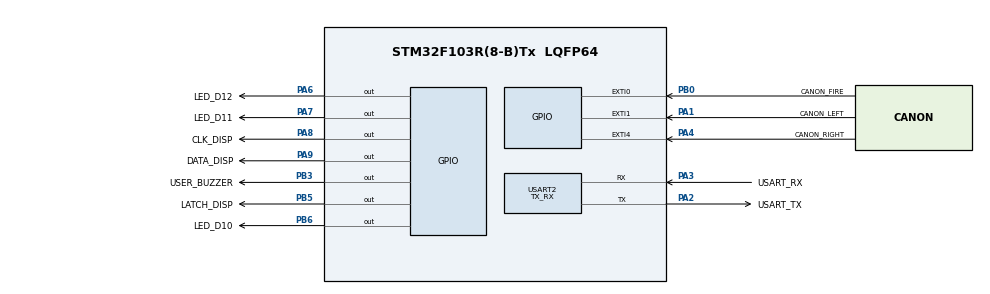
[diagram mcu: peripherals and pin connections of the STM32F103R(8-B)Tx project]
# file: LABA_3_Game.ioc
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Dma.Request0=USART2_RX
Dma.Request1=USART2_TX
Dma.USART2_RX.0.Direction=DMA_PERIPH_TO_MEMORY
Dma.USART2_RX.0.Instance=DMA1_Channel6
Dma.USART2_RX.0.MemDataAlignment=DMA_MDATAALIGN_BYTE
Dma.USART2_RX.0.MemInc=DMA_MINC_ENABLE
Dma.USART2_RX.0.Mode=DMA_NORMAL
Dma.USART2_RX.0.PeriphDataAlignment=DMA_PDATAALIGN_BYTE
Dma.USART2_RX.0.PeriphInc=DMA_PINC_DISABLE
Dma.USART2_RX.0.Priority=DMA_PRIORITY_LOW
Dma.USART2_TX.1.Direction=DMA_MEMORY_TO_PERIPH
Dma.USART2_TX.1.Instance=DMA1_Channel7
Dma.USART2_TX.1.MemDataAlignment=DMA_MDATAALIGN_BYTE
Dma.USART2_TX.1.MemInc=DMA_MINC_ENABLE
Dma.USART2_TX.1.Mode=DMA_NORMAL
Dma.USART2_TX.1.PeriphDataAlignment=DMA_PDATAALIGN_BYTE
Dma.USART2_TX.1.PeriphInc=DMA_PINC_DISABLE
Dma.USART2_TX.1.Priority=DMA_PRIORITY_LOW
Mcu.Family=STM32F1
Mcu.Name=STM32F103R(8-B)Tx
Mcu.Package=LQFP64
NVIC.DMA1_Channel6_IRQn=true\:0\:0\:false\:false\:true\:false\:true\:true
NVIC.DMA1_Channel7_IRQn=true\:0\:0\:false\:false\:true\:false\:true\:true
NVIC.EXTI0_IRQn=true\:0\:0\:false\:false\:true\:true\:true\:true
NVIC.EXTI1_IRQn=true\:0\:0\:false\:false\:true\:true\:true\:true
NVIC.EXTI4_IRQn=true\:0\:0\:false\:false\:true\:true\:true\:true
NVIC.PriorityGroup=NVIC_PRIORITYGROUP_4
NVIC.USART2_IRQn=true\:0\:0\:false\:false\:true\:true\:true\:true
PA1.GPIO_Label=CANON_LEFT
PA1.GPIO_ModeDefaultEXTI=GPIO_MODE_IT_RISING_FALLING
PA1.GPIO_PuPd=GPIO_PULLDOWN
PA1.Signal=GPXTI1
PA2.GPIO_Label=USART_TX
PA2.GPIO_Mode=GPIO_MODE_AF_PP
PA2.GPIO_PuPd=GPIO_NOPULL
PA2.GPIO_Speed=GPIO_SPEED_FREQ_LOW
PA2.Mode=Asynchronous
PA2.Signal=USART2_TX
PA3.GPIO_Label=USART_RX
PA3.GPIO_Mode=GPIO_MODE_AF_PP
PA3.GPIO_PuPd=GPIO_NOPULL
PA3.GPIO_Speed=GPIO_SPEED_FREQ_LOW
PA3.Mode=Asynchronous
PA3.Signal=USART2_RX
PA4.GPIO_Label=CANON_RIGHT
PA4.GPIO_ModeDefaultEXTI=GPIO_MODE_IT_RISING_FALLING
PA4.GPIO_PuPd=GPIO_PULLDOWN
PA4.Signal=GPXTI4
PA6.GPIO_Label=LED_D12
PA6.Signal=GPIO_Output
PA7.GPIO_Label=LED_D11
PA7.Signal=GPIO_Output
PA8.GPIO_Label=CLK_DISP
PA8.GPIO_PuPd=GPIO_PULLDOWN
PA8.Signal=GPIO_Output
PA9.GPIO_Label=DATA_DISP
PA9.GPIO_PuPd=GPIO_PULLDOWN
PA9.Signal=GPIO_Output
PB0.GPIO_Label=CANON_FIRE
PB0.GPIO_ModeDefaultEXTI=GPIO_MODE_IT_RISING_FALLING
PB0.GPIO_PuPd=GPIO_PULLDOWN
PB0.Signal=GPXTI0
PB3.GPIO_Label=USER_BUZZER
PB3.GPIO_ModeDefaultOutputPP=GPIO_MODE_OUTPUT_OD
PB3.GPIO_PuPd=GPIO_NOPULL
PB3.PinState=GPIO_PIN_SET
PB3.Signal=GPIO_Output
PB5.GPIO_Label=LATCH_DISP
PB5.GPIO_PuPd=GPIO_PULLDOWN
PB5.Signal=GPIO_Output
PB6.GPIO_Label=LED_D10
PB6.Signal=GPIO_Output
ProjectManager.HeapSize=0x200
ProjectManager.StackSize=0x400
ProjectManager.TargetToolchain=MDK-ARM V5.32
RCC.AHBFreq_Value=64000000
RCC.APB1CLKDivider=RCC_HCLK_DIV2
RCC.APB1Freq_Value=32000000
RCC.APB1TimFreq_Value=64000000
RCC.APB2Freq_Value=64000000
RCC.APB2TimFreq_Value=64000000
RCC.HCLKFreq_Value=64000000
RCC.PLLMUL=RCC_PLL_MUL16
RCC.RTCClockSelection=RCC_RTCCLKSOURCE_LSE
RCC.SYSCLKFreq_VALUE=64000000
RCC.SYSCLKSource=RCC_SYSCLKSOURCE_PLLCLK
RCC.USBFreq_Value=64000000
USART2.Mode=MODE_TX_RX
USART2.VirtualMode=VM_ASYNC
VP_SYS_VS_ND.Mode=No_Debug
board=NUCLEO-F103RB

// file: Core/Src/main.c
	/* USER CODE BEGIN Header */
	/**
		* @file           : main.c
		* @brief          : Sea Defenders - FINAL VERSION with Mirror Logic
		*/
	/* USER CODE END Header */
	/* Includes ------------------------------------------------------------------*/
	#include "main.h"
	#include <string.h>
	#include <stdio.h>
	#include <stdlib.h>

	/* Private includes ----------------------------------------------------------*/

	/* Private typedef -----------------------------------------------------------*/

	/* Private define ------------------------------------------------------------*/

	/* Private macro -------------------------------------------------------------*/

	/* Private variables ---------------------------------------------------------*/
	UART_HandleTypeDef huart2;
	DMA_HandleTypeDef hdma_usart2_rx;
	DMA_HandleTypeDef hdma_usart2_tx;

	/* USER CODE BEGIN PV */

	static uint8_t last_game_state = 255;
	static uint8_t last_selected_item = 255;

	static char debug_buffer[128];

	#define START_BYTE 0xAA
	#define END_BYTE 0x55
	#define PACKET_GAME_STATE 0x01
	#define PACKET_MENU_STATE 0x02
	#define PACKET_DEBUG 0x03
	#define PACKET_EXPLOSION 0x04
	#define PACKET_SPAWN_ENEMY 0x10
	#define PACKET_START_GAME 0x11
	#define PACKET_SPAWN_ISLAND 0x13
	#define PACKET_SPAWN_WHIRLPOOL 0x14

	#define MAX_ENEMIES 10
	#define MAX_BULLETS 10
	#define MAX_EXPLOSIONS 5
	#define MAX_ISLANDS 20
	#define MAX_WHIRLPOOLS 5
	#define SCREEN_WIDTH 800
	#define SCREEN_HEIGHT 600

	// Константы для Sea Defenders
	#define MAX_SHIP_ANGLE 45        // Максимальный угол поворота корабля
	#define ANGLE_STEP 15           // Шаг поворота за нажатие
	#define ANGLE_RETURN_SPEED 2    // Скорость возврата к прямому курсу
	#define SHIP_SPEED 3            // Скорость движения корабля вперед

	typedef struct {
			int16_t x;
			int16_t y;
	} Vector2;

	typedef struct {
			Vector2 pos;
			uint8_t hp;
			uint8_t shoot_cooldown;
			int8_t angle;        // Угол поворота корабля (-45° до +45°)
			uint8_t last_move;  // Последнее движение: 0=влево, 1=вправо, 2=прямо
	} Player;

	typedef struct {
			Vector2 pos;
			Vector2 vel;
			uint8_t active;
	} Bullet;

	typedef struct {
			Vector2 pos;
			int8_t vel_x;
			int8_t vel_y;
			uint8_t hp;
			uint8_t max_hp;
			uint8_t type;        // 0=шлюпка, 1=галеон
			uint8_t active;
			uint8_t shoot_cooldown;
			uint8_t shoot_pattern; // Паттерн стрельбы для галеонов
	} Enemy;

	typedef struct {
			Vector2 pos;
			uint8_t frame;
			uint8_t active;
	} Explosion;

	typedef struct {
			Vector2 pos;
			uint8_t size;
			uint8_t active;
	} Island;

	typedef struct {
			Vector2 pos;
			Vector2 target_pos;  // Куда телепортирует
			uint8_t active;
	} Whirlpool;

	typedef enum {
			GAME_MENU = 0,      // ??????? ????
			GAME_PLAYING,       // ???? ????
			GAME_PAUSED,        // ?????
			GAME_OVER          // Game Over
	} GameState;

	typedef enum {
			MENU_ITEM_START = 0,
			MENU_ITEM_CONTINUE,
			MENU_ITEM_RESTART,
			MENU_ITEM_EXIT,
			MENU_ITEM_COUNT
	} MenuItem;

	static Player player;
	static Enemy enemies[MAX_ENEMIES];
	static Bullet bullets[MAX_BULLETS];
	static Bullet enemy_bullets[MAX_BULLETS];
	static Explosion explosions[MAX_EXPLOSIONS];
	static Island islands[MAX_ISLANDS];
	static Whirlpool whirlpools[MAX_WHIRLPOOLS];

	static GameState game_state = GAME_MENU;
	static uint16_t score = 0;
	static uint8_t level = 1;
	static MenuItem selected_menu_item = MENU_ITEM_START;

	volatile uint8_t uart_tx_busy = 0;
	static uint8_t tx_buffer[256];

	#define RX_BUFFER_SIZE 512
	static uint8_t rx_buffer[RX_BUFFER_SIZE];
	static volatile uint16_t rx_write_pos = 0;

	static uint32_t last_update_time = 0;
	static uint32_t last_tx_time = 0;
	static uint32_t last_debug_time = 0;
	#define UPDATE_INTERVAL_MS 16
	#define TX_INTERVAL_MS 33
	#define DEBUG_INTERVAL_MS 2000

	volatile uint8_t disp_buf[4] = {0, 0, 0, 0};
	static uint32_t last_refresh_tick = 0;
	static uint8_t current_digit = 0;
	#define DIGIT_ON_MS 2

	static const uint8_t seg_digits[10] = {
			0b00111111, 0b00000110, 0b01011011, 0b01001111,
			0b01100110, 0b01101101, 0b01111101, 0b00000111,
			0b01111111, 0b01101111
	};

	// ?????? ? ??????????? ?????????
	static uint8_t button_left_held = 0;
	static uint8_t button_right_held = 0;
	static uint8_t button_fire_held = 0;
	static uint32_t button_fire_press_start = 0;
	static uint32_t last_button_action = 0;
	static uint32_t last_move_time = 0;        // ????????: ??? ???????? ????????
	static uint8_t pause_triggered = 0;
	#define BUTTON_REPEAT_DELAY_MS 150
	#define PAUSE_HOLD_TIME_MS 500
	#define MOVE_DELAY_MS 30          // ???????? ????? ??????????
	#define FIRE_COOLDOWN_FRAMES 18

	static uint8_t button_left_pressed = 0;
	static uint8_t button_right_pressed = 0;
	static uint8_t button_fire_released = 0;

	/* USER CODE END PV */

	/* Private function prototypes -----------------------------------------------*/
	void SystemClock_Config(void);
	static void MX_GPIO_Init(void);
	static void MX_DMA_Init(void);
	static void MX_USART2_UART_Init(void);
	/* USER CODE BEGIN PFP */
	static void send_debug(const char *msg);
	static uint8_t crc8(uint8_t *data, uint16_t len);
	static void send_game_state(void);
	static void send_menu_state(void);
	static void send_explosion(int16_t x, int16_t y);
	static void process_rx_data(void);
	static void game_init(void);
	static void game_start(void);
	static void game_update(float dt);
	static void menu_update(void);
	static void player_update(float dt);
	static void bullets_update(float dt);
	static void enemies_update(float dt);
	static void explosions_update(float dt);
	static void islands_update(float dt);
	static void whirlpools_update(float dt);
	static void check_collisions(void);
	static void player_shoot(void);
	static void enemy_shoot(Enemy *enemy);
	static void spawn_enemy(int16_t x, uint8_t type, int8_t vx, int8_t vy);
	static void create_explosion(int16_t x, int16_t y);
	static void create_island(int16_t x, int16_t y, uint8_t size);
	static void create_whirlpool(int16_t x, int16_t y, int16_t target_x, int16_t target_y);
	static void shift_out_byte(uint8_t b);
	static void latch_pulse(void);
	static void prepare_display_buffer(uint16_t score);
	static void display_refresh_cycle(void);
	static void handle_button_events(void);
	static void cleanup_rx_buffer(void);
	/* USER CODE END PFP */

	/* Private user code ---------------------------------------------------------*/
	/* USER CODE BEGIN 0 */

	static uint8_t crc8(uint8_t *data, uint16_t len)
	{
			uint8_t crc = 0;
			for(uint16_t i = 0; i < len; i++) {
					crc ^= data[i];
					for(uint8_t j = 0; j < 8; j++) {
							if(crc & 0x80)
									crc = (crc << 1) ^ 0x07;
							else
									crc <<= 1;
					}
			}
			return crc;
	}

	static void send_debug(const char *msg)
	{
			if(uart_tx_busy) return;

			uint16_t idx = 0;
			uint16_t msg_len = strlen(msg);
			if(msg_len > 100) msg_len = 100;

			tx_buffer[idx++] = START_BYTE;
			tx_buffer[idx++] = PACKET_DEBUG;

			for(uint16_t i = 0; i < msg_len; i++) {
					tx_buffer[idx++] = msg[i];
			}

			uint8_t crc_val = crc8(&tx_buffer[1], idx - 1);
			tx_buffer[idx++] = crc_val;
			tx_buffer[idx++] = END_BYTE;

			if(HAL_UART_Transmit_DMA(&huart2, tx_buffer, idx) == HAL_OK) {
					uart_tx_busy = 1;
			}
	}

	static void send_menu_state(void)
	{
			if(uart_tx_busy) return;

			uint16_t idx = 0;
			tx_buffer[idx++] = START_BYTE;
			tx_buffer[idx++] = PACKET_MENU_STATE;
			tx_buffer[idx++] = game_state;
			tx_buffer[idx++] = selected_menu_item;
			tx_buffer[idx++] = (score >> 8) & 0xFF;
			tx_buffer[idx++] = score & 0xFF;

			uint8_t crc_val = crc8(&tx_buffer[1], idx - 1);
			tx_buffer[idx++] = crc_val;
			tx_buffer[idx++] = END_BYTE;

			if(HAL_UART_Transmit_DMA(&huart2, tx_buffer, idx) == HAL_OK) {
					uart_tx_busy = 1;
			}
	}

	static void send_explosion(int16_t x, int16_t y)
	{
			if(uart_tx_busy) return;

			uint16_t idx = 0;
			tx_buffer[idx++] = START_BYTE;
			tx_buffer[idx++] = PACKET_EXPLOSION;
			tx_buffer[idx++] = (x >> 8) & 0xFF;
			tx_buffer[idx++] = x & 0xFF;
			tx_buffer[idx++] = (y >> 8) & 0xFF;
			tx_buffer[idx++] = y & 0xFF;

			uint8_t crc_val = crc8(&tx_buffer[1], idx - 1);
			tx_buffer[idx++] = crc_val;
			tx_buffer[idx++] = END_BYTE;

			if(HAL_UART_Transmit_DMA(&huart2, tx_buffer, idx) == HAL_OK) {
					uart_tx_busy = 1;
			}
	}

	static void send_game_state(void)
	{
			if(uart_tx_busy) return;
			uint16_t idx = 0;
			if(idx + 50 > sizeof(tx_buffer)) return;

			tx_buffer[idx++] = START_BYTE;
			tx_buffer[idx++] = PACKET_GAME_STATE;

			tx_buffer[idx++] = (player.pos.x >> 8) & 0xFF;
			tx_buffer[idx++] = player.pos.x & 0xFF;
			tx_buffer[idx++] = (player.pos.y >> 8) & 0xFF;
			tx_buffer[idx++] = player.pos.y & 0xFF;
			tx_buffer[idx++] = player.hp;
			tx_buffer[idx++] = (int8_t)player.angle;  // Угол корабля
			tx_buffer[idx++] = (score >> 8) & 0xFF;
			tx_buffer[idx++] = score & 0xFF;
			tx_buffer[idx++] = level;

			uint8_t enemy_count = 0;
			for(uint8_t i = 0; i < MAX_ENEMIES; i++) {
					if(enemies[i].active) enemy_count++;
			}
			tx_buffer[idx++] = enemy_count;

			for(uint8_t i = 0; i < MAX_ENEMIES && idx + 6 < sizeof(tx_buffer) - 10; i++) {
					if(enemies[i].active) {
							tx_buffer[idx++] = (enemies[i].pos.x >> 8) & 0xFF;
							tx_buffer[idx++] = enemies[i].pos.x & 0xFF;
							tx_buffer[idx++] = (enemies[i].pos.y >> 8) & 0xFF;
							tx_buffer[idx++] = enemies[i].pos.y & 0xFF;
							tx_buffer[idx++] = enemies[i].type;
							tx_buffer[idx++] = enemies[i].hp;
					}
			}

			uint8_t bullet_count = 0;
			for(uint8_t i = 0; i < MAX_BULLETS; i++) {
					if(bullets[i].active) bullet_count++;
			}
			tx_buffer[idx++] = bullet_count;

			for(uint8_t i = 0; i < MAX_BULLETS && idx + 4 < sizeof(tx_buffer) - 10; i++) {
					if(bullets[i].active) {
							tx_buffer[idx++] = (bullets[i].pos.x >> 8) & 0xFF;
							tx_buffer[idx++] = bullets[i].pos.x & 0xFF;
							tx_buffer[idx++] = (bullets[i].pos.y >> 8) & 0xFF;
							tx_buffer[idx++] = bullets[i].pos.y & 0xFF;
					}
			}

			uint8_t ebullet_count = 0;
			for(uint8_t i = 0; i < MAX_BULLETS; i++) {
					if(enemy_bullets[i].active) ebullet_count++;
			}
			tx_buffer[idx++] = ebullet_count;

			for(uint8_t i = 0; i < MAX_BULLETS && idx + 4 < sizeof(tx_buffer) - 10; i++) {
					if(enemy_bullets[i].active) {
							tx_buffer[idx++] = (enemy_bullets[i].pos.x >> 8) & 0xFF;
							tx_buffer[idx++] = enemy_bullets[i].pos.x & 0xFF;
							tx_buffer[idx++] = (enemy_bullets[i].pos.y >> 8) & 0xFF;
							tx_buffer[idx++] = enemy_bullets[i].pos.y & 0xFF;
					}
			}

			uint8_t crc_val = crc8(&tx_buffer[1], idx - 1);
			tx_buffer[idx++] = crc_val;
			tx_buffer[idx++] = END_BYTE;

			if(HAL_UART_Transmit_DMA(&huart2, tx_buffer, idx) == HAL_OK) {
					uart_tx_busy = 1;
			}
	}

	static void cleanup_rx_buffer(void)
	{
			uint16_t dma_pos = RX_BUFFER_SIZE - __HAL_DMA_GET_COUNTER(&hdma_usart2_rx);

			// ???? ????? ???????? ????? ??? ?? 90%, ?????????? ?????? ??????
			uint16_t used = (dma_pos >= rx_write_pos) ?
											(dma_pos - rx_write_pos) :
											(RX_BUFFER_SIZE - rx_write_pos + dma_pos);

			if(used > (RX_BUFFER_SIZE * 9 / 10)) {
					rx_write_pos = dma_pos;
					send_debug("RX overflow");
			}
	}

	static void process_rx_data(void)
	{
			uint16_t dma_pos = RX_BUFFER_SIZE - __HAL_DMA_GET_COUNTER(&hdma_usart2_rx);

			while(rx_write_pos != dma_pos) {
					uint8_t byte = rx_buffer[rx_write_pos];

					static uint8_t packet_state = 0;
					static uint8_t packet_type = 0;
					static uint8_t packet_data[10];
					static uint8_t packet_idx = 0;

					if(packet_state == 0 && byte == START_BYTE) {
							packet_state = 1;
							packet_idx = 0;
					}
					else if(packet_state == 1) {
							packet_type = byte;
							packet_state = 2;
					}
					else if(packet_state == 2) {
							packet_data[packet_idx++] = byte;

							if(packet_type == PACKET_START_GAME) {
									if(packet_idx >= 2 && packet_data[1] == END_BYTE) {
											// ?????????? ???? ??? ??????
											packet_state = 0;
									}
									else if(packet_idx > 2) packet_state = 0;
							}
							else if(packet_type == PACKET_SPAWN_ENEMY) {
									if(packet_idx >= 7 && packet_data[6] == END_BYTE) {
											int16_t x = (packet_data[0] << 8) | packet_data[1];
											uint8_t type = packet_data[2];
											int8_t vx = (int8_t)packet_data[3];
											int8_t vy = (int8_t)packet_data[4];
											spawn_enemy(x, type, vx, vy);
											packet_state = 0;
									}
									else if(packet_idx > 7) packet_state = 0;
							}
							else if(packet_type == PACKET_SPAWN_ISLAND) {
									if(packet_idx >= 6 && packet_data[5] == END_BYTE) {
											int16_t x = (packet_data[0] << 8) | packet_data[1];
											int16_t y = (packet_data[2] << 8) | packet_data[3];
											uint8_t size = packet_data[4];
											create_island(x, y, size);
											packet_state = 0;
									}
									else if(packet_idx > 6) packet_state = 0;
							}
							else if(packet_type == PACKET_SPAWN_WHIRLPOOL) {
									if(packet_idx >= 9 && packet_data[8] == END_BYTE) {
											int16_t x = (packet_data[0] << 8) | packet_data[1];
											int16_t y = (packet_data[2] << 8) | packet_data[3];
											int16_t target_x = (packet_data[4] << 8) | packet_data[5];
											int16_t target_y = (packet_data[6] << 8) | packet_data[7];
											create_whirlpool(x, y, target_x, target_y);
											packet_state = 0;
									}
									else if(packet_idx > 9) packet_state = 0;
							}
							else {
									packet_state = 0;
							}
					}

					rx_write_pos++;
					if(rx_write_pos >= RX_BUFFER_SIZE) rx_write_pos = 0;
			}
	}

	static void game_init(void)
	{
			player.pos.x = SCREEN_WIDTH / 2;
			player.pos.y = SCREEN_HEIGHT - 80;
			player.hp = 100;
			player.shoot_cooldown = 0;
			player.angle = 0;           // Корабль смотрит прямо
			player.last_move = 2;        // Прямо

			memset(enemies, 0, sizeof(enemies));
			memset(bullets, 0, sizeof(bullets));
			memset(enemy_bullets, 0, sizeof(enemy_bullets));
			memset(explosions, 0, sizeof(explosions));
			memset(islands, 0, sizeof(islands));
			memset(whirlpools, 0, sizeof(whirlpools));

			score = 0;
			level = 1;
	}

	static void game_start(void)
{
    game_init();
    game_state = GAME_PLAYING;

    // ????? ???? ????????? ??????
    pause_triggered = 0;
    button_fire_press_start = 0;
    button_fire_held = 0;       // ????????: ????? held
    button_fire_released = 0;   // ????????: ????? released
    last_move_time = 0;

    HAL_GPIO_WritePin(LED_D12_GPIO_Port, LED_D12_Pin, GPIO_PIN_SET);
    HAL_GPIO_WritePin(LED_D11_GPIO_Port, LED_D11_Pin, GPIO_PIN_RESET);

    send_debug("Game Start");
}
	static void menu_update(void)
	{
			// ???? ??????????? ????? handle_button_events
			// ????? ?????? ?????????? ?????????
	}

	static void game_update(float dt)
	{
			if(game_state != GAME_PLAYING) return;

			player_update(dt);
			bullets_update(dt);
			enemies_update(dt);
			explosions_update(dt);
			islands_update(dt);
			whirlpools_update(dt);
			check_collisions();

			if(player.hp == 0) {
					game_state = GAME_OVER;
					selected_menu_item = 0; // Restart

					// ????? ????????? ??????
					pause_triggered = 0;
					button_fire_press_start = 0;
					button_fire_held = 0;

					// LED ?????????
					HAL_GPIO_WritePin(LED_D12_GPIO_Port, LED_D12_Pin, GPIO_PIN_RESET);
					HAL_GPIO_WritePin(LED_D11_GPIO_Port, LED_D11_Pin, GPIO_PIN_SET);

					send_debug("GAME OVER");
			}
	}

	static void player_update(float dt)
	{
			if(player.shoot_cooldown > 0) player.shoot_cooldown--;

			// Автоматическое движение вперед
			player.pos.y -= SHIP_SPEED;

			// Постепенный возврат к прямому курсу
			if(player.angle > 0) {
					player.angle -= ANGLE_RETURN_SPEED;
					if(player.angle < 0) player.angle = 0;
			} else if(player.angle < 0) {
					player.angle += ANGLE_RETURN_SPEED;
					if(player.angle > 0) player.angle = 0;
			}

			// Ограничение по Y (если корабль вышел за экран)
			if(player.pos.y < -50) {
					player.pos.y = SCREEN_HEIGHT + 50;
			}
	}

	static void bullets_update(float dt)
	{
			for(uint8_t i = 0; i < MAX_BULLETS; i++) {
					if(bullets[i].active) {
							bullets[i].pos.x += bullets[i].vel.x;
							bullets[i].pos.y += bullets[i].vel.y;

							// Удаление пуль за границами экрана
							if(bullets[i].pos.y < -20 || bullets[i].pos.x < -20 || bullets[i].pos.x > SCREEN_WIDTH + 20) {
									bullets[i].active = 0;
							}
					}
			}

			for(uint8_t i = 0; i < MAX_BULLETS; i++) {
					if(enemy_bullets[i].active) {
							enemy_bullets[i].pos.x += enemy_bullets[i].vel.x;
							enemy_bullets[i].pos.y += enemy_bullets[i].vel.y;

							if(enemy_bullets[i].pos.y > SCREEN_HEIGHT + 20 || enemy_bullets[i].pos.x < -20 || enemy_bullets[i].pos.x > SCREEN_WIDTH + 20) {
									enemy_bullets[i].active = 0;
							}
					}
			}
	}

	static void enemies_update(float dt)
	{
			for(uint8_t i = 0; i < MAX_ENEMIES; i++) {
					if(enemies[i].active) {
							enemies[i].pos.x += enemies[i].vel_x / 5;
							enemies[i].pos.y += enemies[i].vel_y / 8;

							if(enemies[i].pos.y > SCREEN_HEIGHT + 50) {
									enemies[i].active = 0;
							}

							// Галеоны стреляют
							if(enemies[i].type == 1) {
									if(enemies[i].shoot_cooldown > 0) {
											enemies[i].shoot_cooldown--;
									} else {
											enemy_shoot(&enemies[i]);
											enemies[i].shoot_cooldown = 120;
									}
							}

							// Шлюпки быстрее и маневреннее
							if(enemies[i].type == 0) {
									enemies[i].pos.x += enemies[i].vel_x / 3; // Быстрее по X
							}
					}
			}
	}

	static void explosions_update(float dt)
	{
			for(uint8_t i = 0; i < MAX_EXPLOSIONS; i++) {
					if(explosions[i].active) {
							explosions[i].frame++;
							if(explosions[i].frame >= 10) {
									explosions[i].active = 0;
							}
					}
			}
	}

	static void islands_update(float dt)
	{
			// Острова статичны, но можно добавить анимацию
			for(uint8_t i = 0; i < MAX_ISLANDS; i++) {
					if(islands[i].active) {
							// Острова могут медленно дрейфовать
							islands[i].pos.y += 1;
							if(islands[i].pos.y > SCREEN_HEIGHT + 100) {
									islands[i].active = 0;
							}
					}
			}
	}

	static void whirlpools_update(float dt)
	{
			// Водовороты анимируются
			for(uint8_t i = 0; i < MAX_WHIRLPOOLS; i++) {
					if(whirlpools[i].active) {
							// Водовороты могут двигаться
							whirlpools[i].pos.y += 1;
							if(whirlpools[i].pos.y > SCREEN_HEIGHT + 100) {
									whirlpools[i].active = 0;
							}
					}
			}
	}

	static void check_collisions(void)
	{
			for(uint8_t b = 0; b < MAX_BULLETS; b++) {
					if(!bullets[b].active) continue;

					for(uint8_t e = 0; e < MAX_ENEMIES; e++) {
							if(!enemies[e].active) continue;

							int16_t dx = bullets[b].pos.x - enemies[e].pos.x;
							int16_t dy = bullets[b].pos.y - enemies[e].pos.y;

							if(dx > -20 && dx < 20 && dy > -20 && dy < 20) {
									bullets[b].active = 0;

									if(enemies[e].hp > 10) {
											enemies[e].hp -= 10;
									} else {
											create_explosion(enemies[e].pos.x, enemies[e].pos.y);
											enemies[e].active = 0;
											score += (enemies[e].type == 0) ? 10 : 25;
									}
									break;
							}
					}
			}

			for(uint8_t b = 0; b < MAX_BULLETS; b++) {
					if(!enemy_bullets[b].active) continue;

					int16_t dx = enemy_bullets[b].pos.x - player.pos.x;
					int16_t dy = enemy_bullets[b].pos.y - player.pos.y;

					if(dx > -30 && dx < 30 && dy > -20 && dy < 20) {
							enemy_bullets[b].active = 0;
							if(player.hp > 10) player.hp -= 10;
							else player.hp = 0;
					}
			}

			for(uint8_t e = 0; e < MAX_ENEMIES; e++) {
					if(!enemies[e].active) continue;

					int16_t dx = enemies[e].pos.x - player.pos.x;
					int16_t dy = enemies[e].pos.y - player.pos.y;

					if(dx > -40 && dx < 40 && dy > -30 && dy < 30) {
							create_explosion(enemies[e].pos.x, enemies[e].pos.y);
							enemies[e].active = 0;
							if(player.hp > 20) player.hp -= 20;
							else player.hp = 0;
					}
			}

			// Проверка столкновений с островами
			for(uint8_t i = 0; i < MAX_ISLANDS; i++) {
					if(!islands[i].active) continue;

					int16_t dx = islands[i].pos.x - player.pos.x;
					int16_t dy = islands[i].pos.y - player.pos.y;
					uint8_t radius = islands[i].size / 2;

					if(dx > -radius && dx < radius && dy > -radius && dy < radius) {
							// Столкновение с островом - урон
							if(player.hp > 10) player.hp -= 10;
							else player.hp = 0;
					}
			}

			// Проверка телепортации через водовороты
			for(uint8_t w = 0; w < MAX_WHIRLPOOLS; w++) {
					if(!whirlpools[w].active) continue;

					int16_t dx = whirlpools[w].pos.x - player.pos.x;
					int16_t dy = whirlpools[w].pos.y - player.pos.y;

					if(dx > -20 && dx < 20 && dy > -20 && dy < 20) {
							// Телепортация
							player.pos.x = whirlpools[w].target_pos.x;
							player.pos.y = whirlpools[w].target_pos.y;
							send_debug("Teleport!");
					}
			}
	}

	static void player_shoot(void)
	{
			if(player.shoot_cooldown > 0) return;

			for(uint8_t i = 0; i < MAX_BULLETS; i++) {
					if(!bullets[i].active) {
							bullets[i].active = 1;
							bullets[i].pos.x = player.pos.x;
							bullets[i].pos.y = player.pos.y - 20;

							// Зеркальная логика: стрельба в противоположную сторону от поворота
							if(player.last_move == 0) { // Поворот влево = стрельба вправо
									bullets[i].vel.x = 4;
									bullets[i].vel.y = -6;
							} else if(player.last_move == 1) { // Поворот вправо = стрельба влево
									bullets[i].vel.x = -4;
									bullets[i].vel.y = -6;
							} else { // Прямо
									bullets[i].vel.x = 0;
									bullets[i].vel.y = -8;
							}

							player.shoot_cooldown = 18;
							break;
					}
			}
	}

	static void enemy_shoot(Enemy *enemy)
	{
			for(uint8_t i = 0; i < MAX_BULLETS; i++) {
					if(!enemy_bullets[i].active) {
							enemy_bullets[i].active = 1;
							enemy_bullets[i].pos.x = enemy->pos.x;
							enemy_bullets[i].pos.y = enemy->pos.y + 20;
							enemy_bullets[i].vel.x = 0;
							enemy_bullets[i].vel.y = 4;
							break;
					}
			}
	}

	static void spawn_enemy(int16_t x, uint8_t type, int8_t vx, int8_t vy)
	{
			for(uint8_t i = 0; i < MAX_ENEMIES; i++) {
					if(!enemies[i].active) {
							enemies[i].active = 1;
							enemies[i].pos.x = x;
							enemies[i].pos.y = -50;
							enemies[i].vel_x = vx;
							enemies[i].vel_y = vy;
							enemies[i].type = type;

							// Разные характеристики для разных типов
							if(type == 0) { // Шлюпка
									enemies[i].hp = 20;
									enemies[i].max_hp = 20;
									enemies[i].shoot_cooldown = 0; // Не стреляет
							} else { // Галеон
									enemies[i].hp = 40;
									enemies[i].max_hp = 40;
									enemies[i].shoot_cooldown = 60;
							}

							enemies[i].shoot_pattern = 0;
							HAL_GPIO_TogglePin(LED_D10_GPIO_Port, LED_D10_Pin);
							break;
					}
			}
	}

	static void create_explosion(int16_t x, int16_t y)
	{
			for(uint8_t i = 0; i < MAX_EXPLOSIONS; i++) {
					if(!explosions[i].active) {
							explosions[i].active = 1;
							explosions[i].pos.x = x;
							explosions[i].pos.y = y;
							explosions[i].frame = 0;
							send_explosion(x, y);
							break;
					}
			}
	}

	static void create_island(int16_t x, int16_t y, uint8_t size)
	{
			for(uint8_t i = 0; i < MAX_ISLANDS; i++) {
					if(!islands[i].active) {
							islands[i].active = 1;
							islands[i].pos.x = x;
							islands[i].pos.y = y;
							islands[i].size = size;
							break;
					}
			}
	}

	static void create_whirlpool(int16_t x, int16_t y, int16_t target_x, int16_t target_y)
	{
			for(uint8_t i = 0; i < MAX_WHIRLPOOLS; i++) {
					if(!whirlpools[i].active) {
							whirlpools[i].active = 1;
							whirlpools[i].pos.x = x;
							whirlpools[i].pos.y = y;
							whirlpools[i].target_pos.x = target_x;
							whirlpools[i].target_pos.y = target_y;
							break;
					}
			}
	}

	/* ??????????? main.c - ?????? ????? create_explosion */

	static void shift_out_byte(uint8_t b)
	{
			for(int i = 7; i >= 0; --i) {
					uint8_t bit = (b >> i) & 0x1;
					HAL_GPIO_WritePin(DATA_DISP_GPIO_Port, DATA_DISP_Pin,
													 bit ? GPIO_PIN_SET : GPIO_PIN_RESET);
					HAL_GPIO_WritePin(CLK_DISP_GPIO_Port, CLK_DISP_Pin, GPIO_PIN_SET);
					HAL_GPIO_WritePin(CLK_DISP_GPIO_Port, CLK_DISP_Pin, GPIO_PIN_RESET);
			}
	}

	static void latch_pulse(void)
	{
			HAL_GPIO_WritePin(LATCH_DISP_GPIO_Port, LATCH_DISP_Pin, GPIO_PIN_SET);
			HAL_GPIO_WritePin(LATCH_DISP_GPIO_Port, LATCH_DISP_Pin, GPIO_PIN_RESET);
	}

	static void prepare_display_buffer(uint16_t score_val)
	{
			uint8_t d3 = (score_val / 1000) % 10;
			uint8_t d2 = (score_val / 100) % 10;
			uint8_t d1 = (score_val / 10) % 10;
			uint8_t d0 = score_val % 10;

			disp_buf[0] = seg_digits[d3];
			disp_buf[1] = seg_digits[d2];
			disp_buf[2] = seg_digits[d1];
			disp_buf[3] = seg_digits[d0];
	}

	static void display_refresh_cycle(void)
	{
			uint32_t now = HAL_GetTick();

			if((now - last_refresh_tick) >= DIGIT_ON_MS) {
					uint8_t segments = disp_buf[current_digit];
					uint8_t digit_mask = (1 << current_digit);

					shift_out_byte(~segments);
					shift_out_byte(digit_mask);
					latch_pulse();

					current_digit++;
					if(current_digit >= 4) current_digit = 0;

					last_refresh_tick = now;
			}
	}

	static void handle_button_events(void)
{
    uint32_t now = HAL_GetTick();

    // ??? ???? (MENU, PAUSED, GAME_OVER)
    if(game_state == GAME_MENU || game_state == GAME_PAUSED || game_state == GAME_OVER) {

        // ?????????? ?????????? ??????? ???? ? ??????????? ?? ?????????
        uint8_t menu_items_count = 0;
        if(game_state == GAME_MENU) {
            menu_items_count = 2; // Start, Exit
        } else if(game_state == GAME_PAUSED) {
            menu_items_count = 3; // Continue, Restart, Exit
        } else if(game_state == GAME_OVER) {
            menu_items_count = 2; // Restart, Exit
        }

        // LEFT - переключение пункта меню (циклично)
        if(button_left_pressed) {
            button_left_pressed = 0;
            if(selected_menu_item > 0) {
                selected_menu_item--;
            } else {
                selected_menu_item = menu_items_count - 1;
            }
            send_debug("Menu Left");
        }

        // RIGHT - переключение пункта меню (циклично)
        if(button_right_pressed) {
            button_right_pressed = 0;
            selected_menu_item++;
            if(selected_menu_item >= menu_items_count) {
                selected_menu_item = 0;
            }
            send_debug("Menu Right");
        }

        // FIRE - выбор пункта меню
        if(button_fire_released) {
            uint32_t press_duration = button_fire_released;
            button_fire_released = 0; // сбрасываем флаг!

            send_debug("Menu Fire");

            // Короткое нажатие - выбор пункта меню
            if(press_duration < PAUSE_HOLD_TIME_MS) {
                if(game_state == GAME_MENU) {
                    // ????: [Start=0, Exit=1]
                    if(selected_menu_item == 0) { // Start
                        game_start();
                    } else if(selected_menu_item == 1) { // Exit
                        // ???????? ? ????
                    }
                }
                else if(game_state == GAME_PAUSED) {
                    // ?????: [Continue=0, Restart=1, Exit=2]
                    if(selected_menu_item == 0) { // Continue
                        game_state = GAME_PLAYING;
                        pause_triggered = 0;
                        send_debug("Resume");
                    } else if(selected_menu_item == 1) { // Restart
                        game_start();
                        pause_triggered = 0;
                    } else if(selected_menu_item == 2) { // Exit
                        game_state = GAME_MENU;
                        selected_menu_item = 0;
                        pause_triggered = 0;
                    }
                }
                else if(game_state == GAME_OVER) {
                    // Game Over: [Restart=0, Exit=1]
                    if(selected_menu_item == 0) { // Restart
                        game_start();
                    } else if(selected_menu_item == 1) { // Exit
                        game_state = GAME_MENU;
                        selected_menu_item = 0;
                    }
                }
            }
            // ???? ??????? ??????? - ?????? ?????????? (??? ???? ????????? ??? ?????)
        }
    }

    // ??? ???? (PLAYING)
    if(game_state == GAME_PLAYING) {

        // ?????: ?????????? button_fire_released ???? ?? ??????? ?? ??????????? ?????????
        if(button_fire_released) {
            button_fire_released = 0;
        }

        // LEFT - поворот влево (зеркальная логика)
        if(button_left_held && (now - last_move_time) > MOVE_DELAY_MS) {
            if(player.angle > -MAX_SHIP_ANGLE) {
                player.angle -= ANGLE_STEP;
                if(player.angle < -MAX_SHIP_ANGLE) player.angle = -MAX_SHIP_ANGLE;
            }
            player.last_move = 0; // Запомнили поворот влево
            last_move_time = now;
        }

        // RIGHT - поворот вправо (зеркальная логика)
        if(button_right_held && (now - last_move_time) > MOVE_DELAY_MS) {
            if(player.angle < MAX_SHIP_ANGLE) {
                player.angle += ANGLE_STEP;
                if(player.angle > MAX_SHIP_ANGLE) player.angle = MAX_SHIP_ANGLE;
            }
            player.last_move = 1; // Запомнили поворот вправо
            last_move_time = now;
        }

        // FIRE - ???????? ? ?????
        if(button_fire_held) {
            // ???????? ?? ?????????? ????????? ??? ?????
            if(!pause_triggered && button_fire_press_start > 0 &&
               (now - button_fire_press_start) > PAUSE_HOLD_TIME_MS) {
                // ????? ?????????!
                game_state = GAME_PAUSED;
                selected_menu_item = 0; // Continue
                pause_triggered = 1;
                send_debug("Paused");
            } else if(!pause_triggered) {
                // ??????? ???????? (?????? ???? ????? ??? ?? ?????????)
                player_shoot();
            }
        }

        // ????? ????? ????? ??? ?????????? ??????
        if(!button_fire_held && pause_triggered) {
            pause_triggered = 0;
        }
    }
}

	/* USER CODE END 0 */

	/**
		* @brief  The application entry point.
		* @retval int
		*/
	int main(void)
	{

		/* MCU Configuration--------------------------------------------------------*/

		/* Reset of all peripherals, Initializes the Flash interface and the Systick. */
		HAL_Init();

		/* Configure the system clock */
		SystemClock_Config();

		/* Initialize all configured peripherals */
		MX_GPIO_Init();
		MX_DMA_Init();
		MX_USART2_UART_Init();
		/* USER CODE BEGIN 2 */
			HAL_Delay(100);

			// ?????? DMA ??? ??????
			HAL_UART_Receive_DMA(&huart2, rx_buffer, RX_BUFFER_SIZE);

			game_init();

			last_game_state = game_state;
			last_selected_item = selected_menu_item;
			pause_triggered = 0;
			last_move_time = 0;
			button_left_pressed = 0;   // ????????
			button_right_pressed = 0;
			button_fire_released = 0;

			HAL_GPIO_WritePin(LED_D10_GPIO_Port, LED_D10_Pin, GPIO_PIN_SET);

			send_debug("System Ready");

			last_update_time = HAL_GetTick();
			last_tx_time = HAL_GetTick();
			last_debug_time = HAL_GetTick();
		/* USER CODE END 2 */

		/* Infinite loop */
		/* USER CODE BEGIN WHILE */
			while (1)
			{
					uint32_t now = HAL_GetTick();

					// ????????? ???????? ??????
					process_rx_data();
					cleanup_rx_buffer();

					// ?????????? ??????? (?????????)
					prepare_display_buffer(score);
					display_refresh_cycle();

					// ????????? ??????
					handle_button_events();

					// ?????????? ??????? ??????
					// ???????? ?????????
					if((now - last_update_time) >= UPDATE_INTERVAL_MS) {
							float dt = (now - last_update_time) / 1000.0f;

							if(game_state == GAME_PLAYING) {
									game_update(dt);
							} else {
									menu_update();
							}

							last_update_time = now;
					}

					// ???????? ?????????
					if((now - last_tx_time) >= TX_INTERVAL_MS && !uart_tx_busy) {
							if(game_state == GAME_PLAYING) {
									// ? ???? ?????????? ?????? ???
									send_game_state();
							} else {
									// ? ???? ?????????? ?????? ??? ??????????
									if (last_game_state != game_state || last_selected_item != selected_menu_item) {
											send_menu_state();
											last_game_state = game_state;
											last_selected_item = selected_menu_item;
									}
							}
							last_tx_time = now;
					}

					// ????????????? ?????????? ??????????
					if((now - last_debug_time) >= DEBUG_INTERVAL_MS) {
							if(game_state == GAME_PLAYING) {
									snprintf(debug_buffer, sizeof(debug_buffer),
													"HP:%d S:%d L:%d", player.hp, score, level);
									send_debug(debug_buffer);
							}
							last_debug_time = now;
					}

			/* USER CODE END WHILE */

			}
	}

	/**
		* @brief System Clock Configuration
		* @retval None
		*/
	void SystemClock_Config(void)
	{
		RCC_OscInitTypeDef RCC_OscInitStruct = {0};
		RCC_ClkInitTypeDef RCC_ClkInitStruct = {0};

		/** Initializes the RCC Oscillators according to the specified parameters
		* in the RCC_OscInitTypeDef structure.
		*/
		RCC_OscInitStruct.OscillatorType = RCC_OSCILLATORTYPE_HSI;
		RCC_OscInitStruct.HSIState = RCC_HSI_ON;
		RCC_OscInitStruct.HSICalibrationValue = RCC_HSICALIBRATION_DEFAULT;
		RCC_OscInitStruct.PLL.PLLState = RCC_PLL_ON;
		RCC_OscInitStruct.PLL.PLLSource = RCC_PLLSOURCE_HSI_DIV2;
		RCC_OscInitStruct.PLL.PLLMUL = RCC_PLL_MUL16;
		if (HAL_RCC_OscConfig(&RCC_OscInitStruct) != HAL_OK)
		{
			Error_Handler();
		}

		/** Initializes the CPU, AHB and APB buses clocks
		*/
		RCC_ClkInitStruct.ClockType = RCC_CLOCKTYPE_HCLK|RCC_CLOCKTYPE_SYSCLK
																|RCC_CLOCKTYPE_PCLK1|RCC_CLOCKTYPE_PCLK2;
		RCC_ClkInitStruct.SYSCLKSource = RCC_SYSCLKSOURCE_PLLCLK;
		RCC_ClkInitStruct.AHBCLKDivider = RCC_SYSCLK_DIV1;
		RCC_ClkInitStruct.APB1CLKDivider = RCC_HCLK_DIV2;
		RCC_ClkInitStruct.APB2CLKDivider = RCC_HCLK_DIV1;

		if (HAL_RCC_ClockConfig(&RCC_ClkInitStruct, FLASH_LATENCY_2) != HAL_OK)
		{
			Error_Handler();
		}
	}

	/**
		* @brief USART2 Initialization Function
		* @param None
		* @retval None
		*/
	static void MX_USART2_UART_Init(void)
	{

		huart2.Instance = USART2;
		huart2.Init.BaudRate = 115200;
		huart2.Init.WordLength = UART_WORDLENGTH_8B;
		huart2.Init.StopBits = UART_STOPBITS_1;
		huart2.Init.Parity = UART_PARITY_NONE;
		huart2.Init.Mode = UART_MODE_TX_RX;
		huart2.Init.HwFlowCtl = UART_HWCONTROL_NONE;
		huart2.Init.OverSampling = UART_OVERSAMPLING_16;
		if (HAL_UART_Init(&huart2) != HAL_OK)
		{
			Error_Handler();
		}

	}

	/**
		* Enable DMA controller clock
		*/
	static void MX_DMA_Init(void)
	{

		/* DMA controller clock enable */
		__HAL_RCC_DMA1_CLK_ENABLE();

		/* DMA interrupt init */
		/* DMA1_Channel6_IRQn interrupt configuration */
		HAL_NVIC_SetPriority(DMA1_Channel6_IRQn, 0, 0);
		HAL_NVIC_EnableIRQ(DMA1_Channel6_IRQn);
		/* DMA1_Channel7_IRQn interrupt configuration */
		HAL_NVIC_SetPriority(DMA1_Channel7_IRQn, 0, 0);
		HAL_NVIC_EnableIRQ(DMA1_Channel7_IRQn);

	}

	/**
		* @brief GPIO Initialization Function
		* @param None
		* @retval None
		*/
	static void MX_GPIO_Init(void)
	{
		GPIO_InitTypeDef GPIO_InitStruct = {0};

		/* GPIO Ports Clock Enable */
		__HAL_RCC_GPIOA_CLK_ENABLE();
		__HAL_RCC_GPIOB_CLK_ENABLE();

		/*Configure GPIO pin Output Level */
		HAL_GPIO_WritePin(GPIOA, LED_D12_Pin|LED_D11_Pin|CLK_DISP_Pin|DATA_DISP_Pin, GPIO_PIN_RESET);

		/*Configure GPIO pin Output Level */
		HAL_GPIO_WritePin(USER_BUZZER_GPIO_Port, USER_BUZZER_Pin, GPIO_PIN_SET);

		/*Configure GPIO pin Output Level */
		HAL_GPIO_WritePin(GPIOB, LATCH_DISP_Pin|LED_D10_Pin, GPIO_PIN_RESET);

		/*Configure GPIO pins : CANON_LEFT_Pin CANON_RIGHT_Pin */
		GPIO_InitStruct.Pin = CANON_LEFT_Pin|CANON_RIGHT_Pin;
		GPIO_InitStruct.Mode = GPIO_MODE_IT_RISING_FALLING;
		GPIO_InitStruct.Pull = GPIO_PULLDOWN;
		HAL_GPIO_Init(GPIOA, &GPIO_InitStruct);

		/*Configure GPIO pins : LED_D12_Pin LED_D11_Pin */
		GPIO_InitStruct.Pin = LED_D12_Pin|LED_D11_Pin;
		GPIO_InitStruct.Mode = GPIO_MODE_OUTPUT_PP;
		GPIO_InitStruct.Pull = GPIO_NOPULL;
		GPIO_InitStruct.Speed = GPIO_SPEED_FREQ_LOW;
		HAL_GPIO_Init(GPIOA, &GPIO_InitStruct);

		/*Configure GPIO pin : CANON_FIRE_Pin */
		GPIO_InitStruct.Pin = CANON_FIRE_Pin;
		GPIO_InitStruct.Mode = GPIO_MODE_IT_RISING_FALLING;
		GPIO_InitStruct.Pull = GPIO_PULLDOWN;
		HAL_GPIO_Init(CANON_FIRE_GPIO_Port, &GPIO_InitStruct);

		/*Configure GPIO pins : CLK_DISP_Pin DATA_DISP_Pin */
		GPIO_InitStruct.Pin = CLK_DISP_Pin|DATA_DISP_Pin;
		GPIO_InitStruct.Mode = GPIO_MODE_OUTPUT_PP;
		GPIO_InitStruct.Pull = GPIO_PULLDOWN;
		GPIO_InitStruct.Speed = GPIO_SPEED_FREQ_LOW;
		HAL_GPIO_Init(GPIOA, &GPIO_InitStruct);

		/*Configure GPIO pin : USER_BUZZER_Pin */
		GPIO_InitStruct.Pin = USER_BUZZER_Pin;
		GPIO_InitStruct.Mode = GPIO_MODE_OUTPUT_OD;
		GPIO_InitStruct.Pull = GPIO_NOPULL;
		GPIO_InitStruct.Speed = GPIO_SPEED_FREQ_LOW;
		HAL_GPIO_Init(USER_BUZZER_GPIO_Port, &GPIO_InitStruct);

		/*Configure GPIO pin : LATCH_DISP_Pin */
		GPIO_InitStruct.Pin = LATCH_DISP_Pin;
		GPIO_InitStruct.Mode = GPIO_MODE_OUTPUT_PP;
		GPIO_InitStruct.Pull = GPIO_PULLDOWN;
		GPIO_InitStruct.Speed = GPIO_SPEED_FREQ_LOW;
		HAL_GPIO_Init(LATCH_DISP_GPIO_Port, &GPIO_InitStruct);

		/*Configure GPIO pin : LED_D10_Pin */
		GPIO_InitStruct.Pin = LED_D10_Pin;
		GPIO_InitStruct.Mode = GPIO_MODE_OUTPUT_PP;
		GPIO_InitStruct.Pull = GPIO_NOPULL;
		GPIO_InitStruct.Speed = GPIO_SPEED_FREQ_LOW;
		HAL_GPIO_Init(LED_D10_GPIO_Port, &GPIO_InitStruct);

		/* EXTI interrupt init*/
		HAL_NVIC_SetPriority(EXTI0_IRQn, 0, 0);
		HAL_NVIC_EnableIRQ(EXTI0_IRQn);

		HAL_NVIC_SetPriority(EXTI1_IRQn, 0, 0);
		HAL_NVIC_EnableIRQ(EXTI1_IRQn);

		HAL_NVIC_SetPriority(EXTI4_IRQn, 0, 0);
		HAL_NVIC_EnableIRQ(EXTI4_IRQn);

	}

	/* USER CODE BEGIN 4 */

	/**
		* @brief  EXTI line detection callbacks
		*/
	void HAL_GPIO_EXTI_Callback(uint16_t GPIO_Pin)
{
    uint32_t now = HAL_GetTick();
    GPIO_PinState state;

    if(GPIO_Pin == CANON_LEFT_Pin) {
        state = HAL_GPIO_ReadPin(CANON_LEFT_GPIO_Port, CANON_LEFT_Pin);
        if(state == GPIO_PIN_SET) {
            button_left_held = 1;
            button_left_pressed = 1;
            last_button_action = now;
            last_move_time = now - MOVE_DELAY_MS;
        } else {
            button_left_held = 0;
        }
    }

    if(GPIO_Pin == CANON_RIGHT_Pin) {
        state = HAL_GPIO_ReadPin(CANON_RIGHT_GPIO_Port, CANON_RIGHT_Pin);
        if(state == GPIO_PIN_SET) {
            button_right_held = 1;
            button_right_pressed = 1;
            last_button_action = now;
            last_move_time = now - MOVE_DELAY_MS;
        } else {
            button_right_held = 0;
        }
    }

    if(GPIO_Pin == CANON_FIRE_Pin) {
        state = HAL_GPIO_ReadPin(CANON_FIRE_GPIO_Port, CANON_FIRE_Pin);
        if(state == GPIO_PIN_SET) {
            button_fire_held = 1;
            button_fire_press_start = now;
        } else {
            button_fire_held = 0;

            if(button_fire_press_start > 0) {
                uint32_t duration = now - button_fire_press_start;
                button_fire_released = duration;
                button_fire_press_start = 0;
            }
        }
    }
}
	/**
		* @brief  Tx Transfer completed callback
		*/
	void HAL_UART_TxCpltCallback(UART_HandleTypeDef *huart)
	{
			if(huart->Instance == USART2) {
					uart_tx_busy = 0;
			}
	}

	/**
		* @brief  UART error callbacks
		*/
	void HAL_UART_ErrorCallback(UART_HandleTypeDef *huart)
	{
			if(huart->Instance == USART2) {
					uart_tx_busy = 0;
					// ?????????? ?????? ??? ??????
					HAL_UART_Receive_DMA(&huart2, rx_buffer, RX_BUFFER_SIZE);
			}
	}

	/* USER CODE END 4 */

	/**
		* @brief  This function is executed in case of error occurrence.
		* @retval None
		*/
	void Error_Handler(void)
	{
		__disable_irq();
		while (1)
		{
		}
	}

	#ifdef  USE_FULL_ASSERT
	/**
		* @brief  Reports the name of the source file and the source line number
		*         where the assert_param error has occurred.
		* @param  file: pointer to the source file name
		* @param  line: assert_param error line source number
		* @retval None
		*/
	void assert_failed(uint8_t *file, uint32_t line)
	{
	}
	#endif /* USE_FULL_ASSERT */
